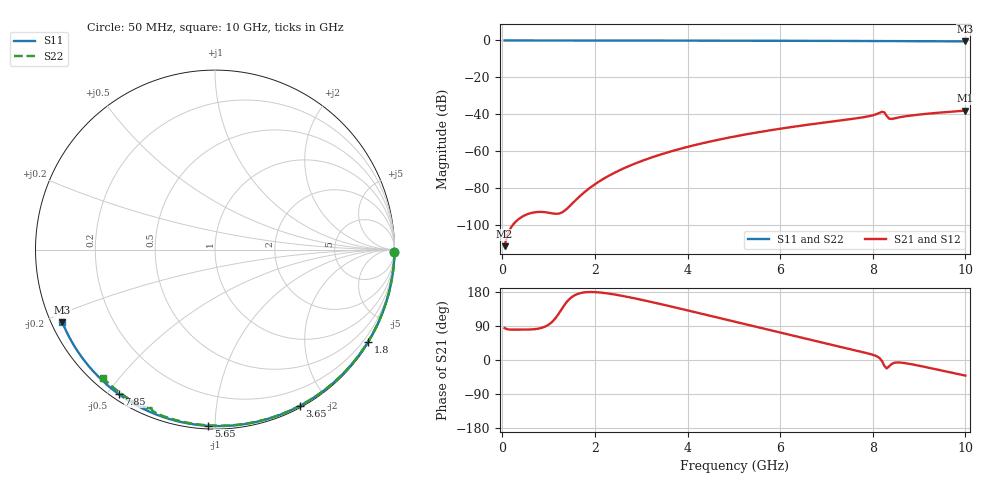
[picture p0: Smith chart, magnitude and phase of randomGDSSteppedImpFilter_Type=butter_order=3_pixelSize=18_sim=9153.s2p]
! freq	dB(S11)	phase(S11)	dB(S12)	phase(S12)
!  dB(S21)	phase(S21)	dB(S22)	phase(S22)
!S-par simulation data
#  GHz  S  DB  R 50
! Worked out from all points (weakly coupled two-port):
!   200 points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, 50 MHz to 10 GHz, reference 50 ohm
!   highest |S21| = -37.96 dB at 10 GHz (marker M1); lowest = -111.3 dB at 50 MHz (marker M2)
!   lowest |S11| = -0.5 dB at 10 GHz (marker M3), VSWR 33.50, Z = 1.57 - j11.3 ohm
!   |S11| at or under -10 dB: nowhere
!   |S22| runs from -0.5 to 0.0 dB; largest |S21 - S12| = 0
!   S11 on the Smith chart (normalised r, x): 50 MHz: open; 1.8 GHz: 0.03, -3.58; 3.65 GHz: 0.02, -1.68; 5.65 GHz: 0.02, -0.96; 7.85 GHz: 0.02, -0.54; 10 GHz: 0.03, -0.23
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0.05  -0.00 -0.9  -111.29 84.4  -111.29 84.4  -0.00 -0.8
0.9  -0.02 -15.8  -92.84 87.0  -92.84 87.0  -0.02 -13.6
1.75  -0.04 -30.3  -82.59 178.1  -82.59 178.1  -0.03 -26.2
1.8  -0.04 -31.2  -81.55 178.8  -81.55 178.8  -0.03 -26.9
1.9  -0.04 -32.9  -79.59 179.4  -79.59 179.4  -0.04 -28.4
2.2  -0.05 -37.9  -74.63 176.9  -74.63 176.9  -0.04 -32.8
2.6  -0.06 -44.6  -69.45 169.0  -69.45 169.0  -0.05 -38.5
2.95  -0.06 -50.3  -65.78 160.3  -65.78 160.3  -0.06 -43.5
3.4  -0.08 -57.6  -61.85 148.1  -61.85 148.1  -0.07 -49.9
3.65  -0.08 -61.6  -59.97 141.0  -59.97 141.0  -0.07 -53.4
4.3  -0.10 -71.8  -55.74 122.2  -55.74 122.2  -0.09 -62.2
5.05  -0.13 -83.3  -51.79 100.1  -51.79 100.1  -0.11 -72.2
5.65  -0.15 -92.2  -49.14 82.4  -49.14 82.4  -0.13 -80.0
6.7  -0.21 -107.4  -45.25 51.7  -45.25 51.7  -0.18 -93.1
7.85  -0.29 -123.7  -41.31 18.8  -41.31 18.8  -0.25 -107.1
8.05  -0.30 -126.5  -40.12 11.7  -40.12 11.7  -0.28 -109.7
8.2  -0.32 -128.6  -38.59 -3.1  -38.59 -3.1  -0.41 -111.9
8.25  -0.32 -129.3  -38.90 -15.4  -38.90 -15.4  -0.53 -112.0
8.35  -0.34 -130.7  -42.25 -17.1  -42.25 -17.1  -0.44 -111.9
8.4  -0.34 -131.4  -42.47 -11.2  -42.47 -11.2  -0.39 -112.5
9.05  -0.40 -140.6  -39.96 -16.4  -39.96 -16.4  -0.36 -120.4
10  -0.52 -154.5  -37.96 -41.2  -37.96 -41.2  -0.45 -131.3
